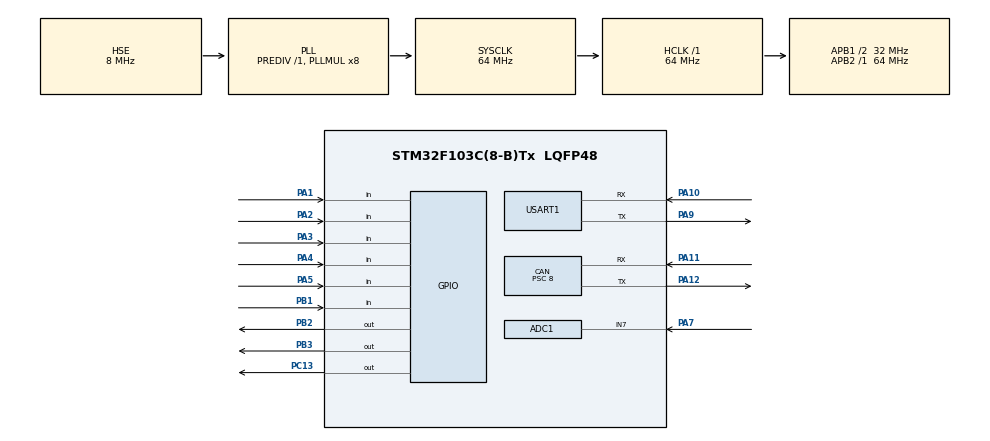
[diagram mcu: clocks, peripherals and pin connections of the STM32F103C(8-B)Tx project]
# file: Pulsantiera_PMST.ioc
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ADC1.Channel-0\#ChannelRegularConversion=ADC_CHANNEL_7
ADC1.NbrOfConversionFlag=1
ADC1.Rank-0\#ChannelRegularConversion=1
ADC1.SamplingTime-0\#ChannelRegularConversion=ADC_SAMPLETIME_1CYCLE_5
ADC1.master=1
CAN.BS1=CAN_BS1_13TQ
CAN.BS2=CAN_BS2_2TQ
CAN.CalculateBaudRate=250000
CAN.CalculateTimeBit=4000
CAN.CalculateTimeQuantum=250.0
CAN.Prescaler=8
Mcu.Family=STM32F1
Mcu.Name=STM32F103C(8-B)Tx
Mcu.Package=LQFP48
NVIC.PriorityGroup=NVIC_PRIORITYGROUP_4
NVIC.TIM2_IRQn=true\:0\:0\:false\:false\:true\:true\:true\:true
PA1.Signal=GPIO_Input
PA10.Mode=Asynchronous
PA10.Signal=USART1_RX
PA11.Mode=CAN_Activate
PA11.Signal=CAN_RX
PA12.Mode=CAN_Activate
PA12.Signal=CAN_TX
PA13.Mode=Serial_Wire
PA13.Signal=SYS_JTMS-SWDIO
PA14.Mode=Serial_Wire
PA14.Signal=SYS_JTCK-SWCLK
PA2.Signal=GPIO_Input
PA3.Signal=GPIO_Input
PA4.Signal=GPIO_Input
PA5.Signal=GPIO_Input
PA7.Signal=ADCx_IN7
PA9.Mode=Asynchronous
PA9.Signal=USART1_TX
PB1.Signal=GPIO_Input
PB2.Signal=GPIO_Output
PB3.Signal=GPIO_Output
PC13-TAMPER-RTC.Signal=GPIO_Output
PC14-OSC32_IN.Mode=LSE-External-Oscillator
PC14-OSC32_IN.Signal=RCC_OSC32_IN
PC15-OSC32_OUT.Mode=LSE-External-Oscillator
PC15-OSC32_OUT.Signal=RCC_OSC32_OUT
PD0-OSC_IN.Mode=HSE-External-Oscillator
PD0-OSC_IN.Signal=RCC_OSC_IN
PD1-OSC_OUT.Mode=HSE-External-Oscillator
PD1-OSC_OUT.Signal=RCC_OSC_OUT
ProjectManager.HeapSize=0x200
ProjectManager.StackSize=0x400
ProjectManager.TargetToolchain=STM32CubeIDE
RCC.ADCPresc=RCC_ADCPCLK2_DIV8
RCC.AHBFreq_Value=64000000
RCC.APB1CLKDivider=RCC_HCLK_DIV2
RCC.APB1Freq_Value=32000000
RCC.APB1TimFreq_Value=64000000
RCC.APB2Freq_Value=64000000
RCC.APB2TimFreq_Value=64000000
RCC.HCLKFreq_Value=64000000
RCC.PLLMUL=RCC_PLL_MUL8
RCC.PLLSourceVirtual=RCC_PLLSOURCE_HSE
RCC.SYSCLKFreq_VALUE=64000000
RCC.SYSCLKSource=RCC_SYSCLKSOURCE_PLLCLK
RCC.USBFreq_Value=64000000
SH.ADCx_IN7.0=ADC1_IN7,IN7
TIM2.Period=5000
TIM2.Prescaler=64
USART1.VirtualMode=VM_ASYNC
VP_TIM2_VS_ClockSourceINT.Mode=Internal
board=custom

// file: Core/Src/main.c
/* USER CODE BEGIN Header */
/**
  ******************************************************************************
  * @file           : main.c
  * @brief          : Main program body
  ******************************************************************************
  * @attention
  *
  * Copyright (c) 2026 STMicroelectronics.
  * All rights reserved.
  *
  * This software is licensed under terms that can be found in the LICENSE file
  * in the root directory of this software component.
  * If no LICENSE file comes with this software, it is provided AS-IS.
  *
  ******************************************************************************
  */
/* USER CODE END Header */
#include "main.h"

/* USER CODE BEGIN PD */

uint32_t header = (6 << 26) | (0xFF05 << 8) | 0x06;										// pin header per il CAN Priorità 6, PGN 0xFF05, Address 0x06
uint8_t sequenceId;																		//prima parte del messaggio, un qualcosa che aumenta a ogni timer
uint8_t canMessage[8] = {0, 0xFF, 0xFF, 0xFF, 0xFF, 0xFF, 0xFF, 0xFF};					//messagio da trasmettere via can

uint8_t flag[5] = {0};
uint8_t button[5] = {1,1,1,1,1};
uint8_t prevButton[5] = {1, 1, 1, 1, 1};
uint8_t debounce[5] = {0};
uint8_t test[5] = {0};
uint8_t j;

/* USER CODE END PD */

ADC_HandleTypeDef hadc1;

CAN_HandleTypeDef hcan;

TIM_HandleTypeDef htim2;

UART_HandleTypeDef huart1;

void SystemClock_Config(void);
static void MX_GPIO_Init(void);
static void MX_TIM2_Init(void);
static void MX_USART1_UART_Init(void);
static void MX_CAN_Init(void);
static void MX_ADC1_Init(void);

int main(void)
{

  /* MCU Configuration--------------------------------------------------------*/

  /* Reset of all peripherals, Initializes the Flash interface and the Systick. */
  HAL_Init();

  /* Configure the system clock */
  SystemClock_Config();

  /* Initialize all configured peripherals */
  MX_GPIO_Init();
  MX_TIM2_Init();
  MX_USART1_UART_Init();
  MX_CAN_Init();
  MX_ADC1_Init();
  /* USER CODE BEGIN 2 */
  if(HAL_CAN_Start(&hcan) != HAL_OK)
     {
  	   Error_Handler();
     }
  HAL_TIM_Base_Start_IT(&htim2);
  /* USER CODE END 2 */

  /* Infinite loop */
  while (1)
  {

  }
}

void SystemClock_Config(void)
{
  RCC_OscInitTypeDef RCC_OscInitStruct = {0};
  RCC_ClkInitTypeDef RCC_ClkInitStruct = {0};
  RCC_PeriphCLKInitTypeDef PeriphClkInit = {0};

  /** Initializes the RCC Oscillators according to the specified parameters
  * in the RCC_OscInitTypeDef structure.
  */
  RCC_OscInitStruct.OscillatorType = RCC_OSCILLATORTYPE_HSE;
  RCC_OscInitStruct.HSEState = RCC_HSE_ON;
  RCC_OscInitStruct.HSEPredivValue = RCC_HSE_PREDIV_DIV1;
  RCC_OscInitStruct.HSIState = RCC_HSI_ON;
  RCC_OscInitStruct.PLL.PLLState = RCC_PLL_ON;
  RCC_OscInitStruct.PLL.PLLSource = RCC_PLLSOURCE_HSE;
  RCC_OscInitStruct.PLL.PLLMUL = RCC_PLL_MUL8;
  if (HAL_RCC_OscConfig(&RCC_OscInitStruct) != HAL_OK)
  {
    Error_Handler();
  }

  /** Initializes the CPU, AHB and APB buses clocks
  */
  RCC_ClkInitStruct.ClockType = RCC_CLOCKTYPE_HCLK|RCC_CLOCKTYPE_SYSCLK
                              |RCC_CLOCKTYPE_PCLK1|RCC_CLOCKTYPE_PCLK2;
  RCC_ClkInitStruct.SYSCLKSource = RCC_SYSCLKSOURCE_PLLCLK;
  RCC_ClkInitStruct.AHBCLKDivider = RCC_SYSCLK_DIV1;
  RCC_ClkInitStruct.APB1CLKDivider = RCC_HCLK_DIV2;
  RCC_ClkInitStruct.APB2CLKDivider = RCC_HCLK_DIV1;

  if (HAL_RCC_ClockConfig(&RCC_ClkInitStruct, FLASH_LATENCY_2) != HAL_OK)
  {
    Error_Handler();
  }
  PeriphClkInit.PeriphClockSelection = RCC_PERIPHCLK_ADC;
  PeriphClkInit.AdcClockSelection = RCC_ADCPCLK2_DIV8;
  if (HAL_RCCEx_PeriphCLKConfig(&PeriphClkInit) != HAL_OK)
  {
    Error_Handler();
  }
}

static void MX_ADC1_Init(void)
{

  ADC_ChannelConfTypeDef sConfig = {0};

  /** Common config
  */
  hadc1.Instance = ADC1;
  hadc1.Init.ScanConvMode = ADC_SCAN_DISABLE;
  hadc1.Init.ContinuousConvMode = DISABLE;
  hadc1.Init.DiscontinuousConvMode = DISABLE;
  hadc1.Init.ExternalTrigConv = ADC_SOFTWARE_START;
  hadc1.Init.DataAlign = ADC_DATAALIGN_RIGHT;
  hadc1.Init.NbrOfConversion = 1;
  if (HAL_ADC_Init(&hadc1) != HAL_OK)
  {
    Error_Handler();
  }

  /** Configure Regular Channel
  */
  sConfig.Channel = ADC_CHANNEL_7;
  sConfig.Rank = ADC_REGULAR_RANK_1;
  sConfig.SamplingTime = ADC_SAMPLETIME_1CYCLE_5;
  if (HAL_ADC_ConfigChannel(&hadc1, &sConfig) != HAL_OK)
  {
    Error_Handler();
  }

}

static void MX_CAN_Init(void)
{

  hcan.Instance = CAN1;
  hcan.Init.Prescaler = 8;
  hcan.Init.Mode = CAN_MODE_NORMAL;
  hcan.Init.SyncJumpWidth = CAN_SJW_1TQ;
  hcan.Init.TimeSeg1 = CAN_BS1_13TQ;
  hcan.Init.TimeSeg2 = CAN_BS2_2TQ;
  hcan.Init.TimeTriggeredMode = DISABLE;
  hcan.Init.AutoBusOff = DISABLE;
  hcan.Init.AutoWakeUp = DISABLE;
  hcan.Init.AutoRetransmission = DISABLE;
  hcan.Init.ReceiveFifoLocked = DISABLE;
  hcan.Init.TransmitFifoPriority = DISABLE;
  if (HAL_CAN_Init(&hcan) != HAL_OK)
  {
    Error_Handler();
  }

}

static void MX_TIM2_Init(void)
{

  TIM_ClockConfigTypeDef sClockSourceConfig = {0};
  TIM_MasterConfigTypeDef sMasterConfig = {0};

  htim2.Instance = TIM2;
  htim2.Init.Prescaler = 64;
  htim2.Init.CounterMode = TIM_COUNTERMODE_UP;
  htim2.Init.Period = 5000;
  htim2.Init.ClockDivision = TIM_CLOCKDIVISION_DIV1;
  htim2.Init.AutoReloadPreload = TIM_AUTORELOAD_PRELOAD_DISABLE;
  if (HAL_TIM_Base_Init(&htim2) != HAL_OK)
  {
    Error_Handler();
  }
  sClockSourceConfig.ClockSource = TIM_CLOCKSOURCE_INTERNAL;
  if (HAL_TIM_ConfigClockSource(&htim2, &sClockSourceConfig) != HAL_OK)
  {
    Error_Handler();
  }
  sMasterConfig.MasterOutputTrigger = TIM_TRGO_RESET;
  sMasterConfig.MasterSlaveMode = TIM_MASTERSLAVEMODE_DISABLE;
  if (HAL_TIMEx_MasterConfigSynchronization(&htim2, &sMasterConfig) != HAL_OK)
  {
    Error_Handler();
  }

}

static void MX_USART1_UART_Init(void)
{

  huart1.Instance = USART1;
  huart1.Init.BaudRate = 115200;
  huart1.Init.WordLength = UART_WORDLENGTH_8B;
  huart1.Init.StopBits = UART_STOPBITS_1;
  huart1.Init.Parity = UART_PARITY_NONE;
  huart1.Init.Mode = UART_MODE_TX_RX;
  huart1.Init.HwFlowCtl = UART_HWCONTROL_NONE;
  huart1.Init.OverSampling = UART_OVERSAMPLING_16;
  if (HAL_UART_Init(&huart1) != HAL_OK)
  {
    Error_Handler();
  }

}

static void MX_GPIO_Init(void)
{
  GPIO_InitTypeDef GPIO_InitStruct = {0};

  /* GPIO Ports Clock Enable */
  __HAL_RCC_GPIOC_CLK_ENABLE();
  __HAL_RCC_GPIOD_CLK_ENABLE();
  __HAL_RCC_GPIOA_CLK_ENABLE();
  __HAL_RCC_GPIOB_CLK_ENABLE();

  /*Configure GPIO pin Output Level */
  HAL_GPIO_WritePin(GPIOC, GPIO_PIN_13, GPIO_PIN_RESET);

  /*Configure GPIO pin Output Level */
  HAL_GPIO_WritePin(GPIOB, GPIO_PIN_2|GPIO_PIN_3, GPIO_PIN_RESET);

  /*Configure GPIO pin : PC13 */
  GPIO_InitStruct.Pin = GPIO_PIN_13;
  GPIO_InitStruct.Mode = GPIO_MODE_OUTPUT_PP;
  GPIO_InitStruct.Pull = GPIO_NOPULL;
  GPIO_InitStruct.Speed = GPIO_SPEED_FREQ_LOW;
  HAL_GPIO_Init(GPIOC, &GPIO_InitStruct);

  /*Configure GPIO pins : PA1 PA2 PA3 PA4
                           PA5 */
  GPIO_InitStruct.Pin = GPIO_PIN_1|GPIO_PIN_2|GPIO_PIN_3|GPIO_PIN_4
                          |GPIO_PIN_5;
  GPIO_InitStruct.Mode = GPIO_MODE_INPUT;
  GPIO_InitStruct.Pull = GPIO_NOPULL;
  HAL_GPIO_Init(GPIOA, &GPIO_InitStruct);

  /*Configure GPIO pin : PB1 */
  GPIO_InitStruct.Pin = GPIO_PIN_1;
  GPIO_InitStruct.Mode = GPIO_MODE_INPUT;
  GPIO_InitStruct.Pull = GPIO_NOPULL;
  HAL_GPIO_Init(GPIOB, &GPIO_InitStruct);

  /*Configure GPIO pins : PB2 PB3 */
  GPIO_InitStruct.Pin = GPIO_PIN_2|GPIO_PIN_3;
  GPIO_InitStruct.Mode = GPIO_MODE_OUTPUT_PP;
  GPIO_InitStruct.Pull = GPIO_NOPULL;
  GPIO_InitStruct.Speed = GPIO_SPEED_FREQ_LOW;
  HAL_GPIO_Init(GPIOB, &GPIO_InitStruct);

}

/* USER CODE BEGIN 4 */
void HAL_TIM_PeriodElapsedCallback(TIM_HandleTypeDef *htim)
{
	if(htim->Instance == TIM2)
	{
		button[0] = HAL_GPIO_ReadPin(GPIOA, GPIO_PIN_1);
		button[1] = HAL_GPIO_ReadPin(GPIOA, GPIO_PIN_2);
		button[2] = HAL_GPIO_ReadPin(GPIOA, GPIO_PIN_3);
		button[3] = HAL_GPIO_ReadPin(GPIOA, GPIO_PIN_4);			//lettura dei pin. se basso è premuto, se alto non è premuto
		if(!button[0] && !button[1] && !button[2] && button[3]){	//bottone4 se bottone 0, 1, 2 premuti e 3 non premuto
			button[4] = 0;
		}else{
			button[4] = 1;											//altrimenti bottone 4 alto (non premuto)
		}

		for(j = 0; j <= 4; j++){
			if(!button[j]){											//button1
				if(debounce[j] < 10){								// serve per non mandare in overflow debounce
					debounce[j]++;									//il bottone dev'essere basso (premuto) per almeno tre volte prima di considerarlo premuto
				}
			}else{
				debounce[j] = 0;									//se il bottone va alto (non premuto) azzera il contatore del debouncer
			}

			if (!button[j] && (debounce[j]>3) && prevButton[j]){	//se il bottone è basso (premuto) e non era stato premuto precedentemente e il contatore del debouncer è superiore a 3 allora consideralo premuto
				if(j <= 3 && button[4]){							//se i bottoni 0, 1, 2 sono premuti contemporanemente allora è premuto il bottone 4 e non i singoli bottoni
					flag[j] = 1;
					canMessage[1] = j;								//bottone j premuto, canMessage[1] è il trim value up
					canMessage[2] = 0xFF;							//nessun bottone rilasciato in quest'istante
				}else if(j == 4){
					flag[j] = 1;
					canMessage[1] = j;
					canMessage[2] = 0xFF;
				}
				prevButton[j] = button[j];							//il bottone è stato premuto, quindi prevuButton è basso

				canMessage[0] = sequenceId++;							//ho mandato un dato incrementa la mia sequenza

				CAN_Tx(&hcan, header, canMessage);					//trasmetti il messaggio via can
			}

			if(button[j] && !prevButton[j]){											//se il bottone smette di essere premuto allora smetti di considerarlo premuto
				prevButton[j] = 1;
				canMessage[2] = j;									//il bottone j viene rilasciato
				canMessage[1] = 0xFF;								//nessun bottone premuto in questo istante

				canMessage[0] = sequenceId++;

				CAN_Tx(&hcan, header, canMessage);					//trasmetti il messaggio via can
			}
		}

	}
	}
/* USER CODE END 4 */

void Error_Handler(void)
{
  __disable_irq();
  while (1)
  {
  }
}
